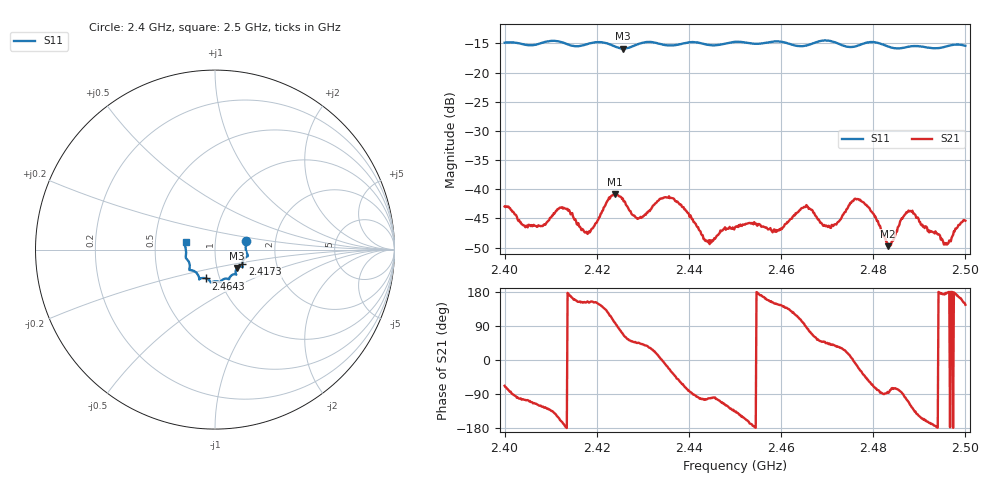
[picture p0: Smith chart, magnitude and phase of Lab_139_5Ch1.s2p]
# Hz S RI R 50
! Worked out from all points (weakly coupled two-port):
!   601 points, 2.4 GHz to 2.5 GHz, reference 50 ohm
!   highest |S21| = -40.86 dB at 2.424 GHz (marker M1); lowest = -49.8 dB at 2.4832 GHz (marker M2)
!   lowest |S11| = -15.9 dB at 2.4257 GHz (marker M3), VSWR 1.38, Z = 62.5 - j13.2 ohm
!   |S11| at or under -10 dB: start of sweep to end of sweep
!   S12 and S22 are empty: the file has one direction only
!   S11 on the Smith chart (normalised r, x): 2.4 GHz: 1.41, +0.14; 2.4173 GHz: 1.34, -0.23; 2.4643 GHz: 0.86, -0.28; 2.5 GHz: 0.72, +0.06
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2.4e9  0.1733 0.0492  0.00265 -0.00659  0 0  0 0
2.4045e9  0.1718 0.0198  -0.00125 -0.00455  0 0  0 0
2.412833e9  0.1751 -0.0406  -0.00679 -0.00134  0 0  0 0
2.416667e9  0.1526 -0.0741  -0.00399 0.002  0 0  0 0
2.417333e9  0.1518 -0.0817  -0.00382 0.00194  0 0  0 0
2.424e9  0.1374 -0.0946  -0.00122 0.00897  0 0  0 0
2.425667e9  0.1235 -0.1025  0.00299 0.00775  0 0  0 0
2.429167e9  0.1156 -0.1329  0.00398 0.004  0 0  0 0
2.433333e9  0.1123 -0.1375  0.00779 0.00162  0 0  0 0
2.437833e9  0.083 -0.1529  0.00446 -0.00612  0 0  0 0
2.444e9  0.0635 -0.1611  -0.000795 -0.00346  0 0  0 0
2.45e9  0.0288 -0.1811  -0.00338 -0.00327  0 0  0 0
2.459167e9  -0.0228 -0.1836  -0.00376 0.0024  0 0  0 0
2.464333e9  -0.0497 -0.1605  -0.00177 0.00659  0 0  0 0
2.466667e9  -0.0758 -0.1593  0.00238 0.00622  0 0  0 0
2.471e9  -0.0877 -0.1632  0.00373 0.00325  0 0  0 0
2.477e9  -0.1268 -0.1159  0.00732 -0.00332  0 0  0 0
2.483167e9  -0.1404 -0.0914  0.000337 -0.00323  0 0  0 0
2.483333e9  -0.1405 -0.0895  0.000194 -0.00325  0 0  0 0
2.487667e9  -0.1582 -0.0519  -0.00233 -0.00613  0 0  0 0
2.495833e9  -0.1662 0.0181  -0.00344 0.000293  0 0  0 0
2.5e9  -0.1641 0.0429  -0.00444 0.00301  0 0  0 0
